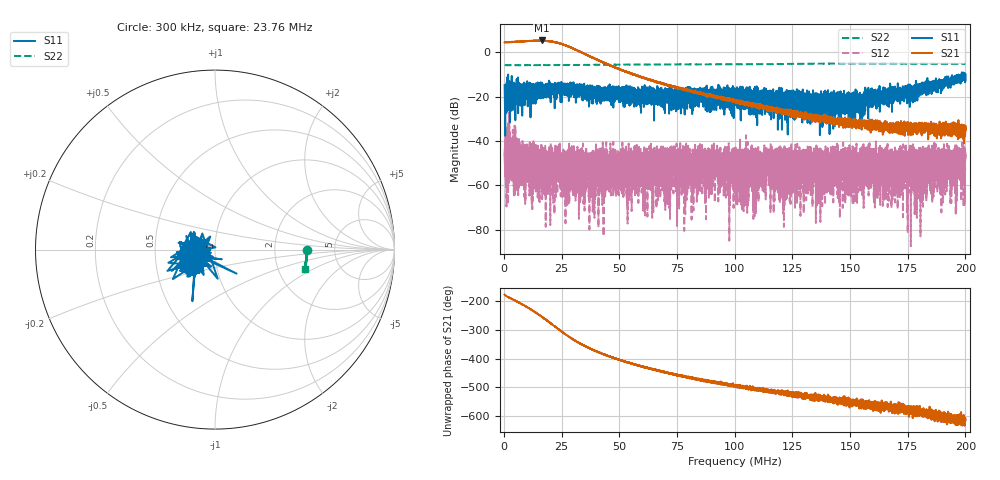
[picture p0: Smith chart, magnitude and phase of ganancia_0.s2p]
# Hz S DB R 50
! CMT, M5065, 19127446, 24.2.4/2
! Date: 11/8/2024 3:44:25 PM
! Data: Format (Calibration Info)
! Freq	S11:dB/Ang(F2)	S21:dB/Ang(F2)	S12:dB/Ang(F2)	S22:dB/Ang(F2)
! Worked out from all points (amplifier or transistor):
!   9000 points, 300 kHz to 200 MHz, reference 50 ohm
!   highest |S21| = 5.3 dB at 16.43 MHz (marker M1)
!   |S21| within 3 dB of that: start of sweep to 28.54 MHz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
!   unconditionally stable (mu >= 1): start of sweep to end of sweep
!   at 33.59 MHz: K = 54.59, MAG = 1.3 dB, |S12| = -43.5 dB
!   at 100.2 MHz: K = 857.36, MAG = -21.0 dB, |S12| = -45.2 dB
!   at 200 MHz: K = 4482.53, MAG = -33.6 dB, |S12| = -47.2 dB
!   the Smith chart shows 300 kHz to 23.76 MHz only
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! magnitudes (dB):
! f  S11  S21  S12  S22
! 300 kHz  -14.9  4.5  -48.4  -5.8
! 3.806 MHz  -18.0  4.6  -53.7  -5.8
! 11.75 MHz  -15.8  5.1  -47.3  -5.9
! 16.43 MHz  -13.7  5.3  -50.9  -5.8
! 18.43 MHz  -16.9  5.1  -45.9  -5.8
! 24.69 MHz  -17.4  3.8  -56.4  -5.8
! 26.86 MHz  -14.7  3.0  -49.0  -5.8
! 29.84 MHz  -17.3  1.8  -63.2  -5.8
! 33.59 MHz  -16.9  -0.1  -43.5  -5.7
! 54.38 MHz  -17.8  -9.2  -66.6  -5.6
! 57.24 MHz  -17.9  -10.4  -53.2  -5.6
! 60.75 MHz  -18.4  -11.6  -45.8  -5.6
! 66.87 MHz  -19.6  -13.6  -53.2  -5.5
! 100.2 MHz  -18.1  -22.5  -45.2  -5.4
! 133.4 MHz  -20.3  -28.8  -54.3  -5.2
! 154.7 MHz  -26.7  -32.5  -48.2  -5.1
! 157.7 MHz  -19.1  -34.2  -43.5  -5.1
! 166.7 MHz  -18.2  -35.5  -52.4  -5.2
! 186.3 MHz  -14.2  -34.2  -44.7  -5.3
! 190.4 MHz  -12.6  -36.5  -50.4  -5.3
! 192.4 MHz  -13.3  -35.1  -50.3  -5.3
! 200 MHz  -12.8  -35.4  -47.2  -5.3
